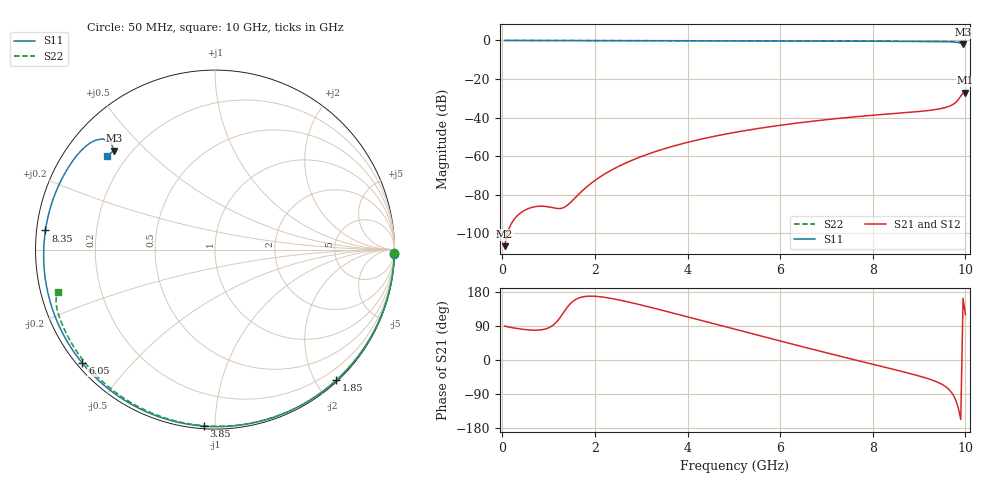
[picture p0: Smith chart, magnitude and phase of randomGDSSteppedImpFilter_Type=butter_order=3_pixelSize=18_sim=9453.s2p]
! freq	dB(S11)	phase(S11)	dB(S12)	phase(S12)
!  dB(S21)	phase(S21)	dB(S22)	phase(S22)
!S-par simulation data
#  GHz  S  DB  R 50
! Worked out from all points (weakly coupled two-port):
!   200 points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, 50 MHz to 10 GHz, reference 50 ohm
!   highest |S21| = -27.08 dB at 10 GHz (marker M1); lowest = -106.6 dB at 50 MHz (marker M2)
!   lowest |S11| = -2.1 dB at 9.95 GHz (marker M3), VSWR 8.45, Z = 6.89 + j20.1 ohm
!   |S11| at or under -10 dB: nowhere
!   |S22| runs from -0.8 to 0.0 dB; largest |S21 - S12| = 0
!   S11 on the Smith chart (normalised r, x): 50 MHz: 0, -87; 1.85 GHz: 0.02, -2.29; 3.85 GHz: 0.01, -0.94; 6.05 GHz: 0.02, -0.37; 8.35 GHz: 0.03, +0.06; 10 GHz: 0.13, +0.37
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0.05  -0.00 -1.3  -106.58 89.6  -106.58 89.6  -0.00 -1.0
0.8  -0.03 -20.7  -85.88 79.1  -85.88 79.1  -0.02 -15.1
1.6  -0.05 -41.0  -80.86 160.7  -80.86 160.7  -0.04 -30.0
1.65  -0.05 -42.3  -79.67 163.5  -79.67 163.5  -0.04 -30.9
1.75  -0.06 -44.7  -77.40 166.9  -77.40 166.9  -0.04 -32.8
1.85  -0.06 -47.2  -75.32 168.3  -75.32 168.3  -0.04 -34.6
2.15  -0.07 -54.5  -70.10 166.4  -70.10 166.4  -0.05 -40.0
2.5  -0.08 -62.9  -65.38 159.0  -65.38 159.0  -0.06 -46.3
2.9  -0.09 -72.3  -61.10 148.0  -61.10 148.0  -0.07 -53.4
3.4  -0.11 -83.7  -56.85 132.8  -56.85 132.8  -0.08 -62.0
3.85  -0.12 -93.6  -53.73 118.6  -53.73 118.6  -0.09 -69.6
5.05  -0.18 -119.1  -47.50 80.1  -47.50 80.1  -0.14 -89.2
6.05  -0.24 -139.4  -43.79 48.5  -43.79 48.5  -0.18 -104.7
6.7  -0.28 -152.5  -41.84 28.2  -41.84 28.2  -0.22 -114.5
7.55  -0.36 -169.7  -39.70 2.2  -39.70 2.2  -0.28 -127.0
8.35  -0.44 173.6  -38.08 -21.8  -38.08 -21.8  -0.35 -138.8
9  -0.51 159.2  -36.82 -42.2  -36.82 -42.2  -0.42 -148.5
9.55  -0.62 145.6  -34.85 -68.4  -34.85 -68.4  -0.50 -157.3
9.75  -0.78 139.3  -32.89 -95.1  -32.89 -95.1  -0.58 -161.0
9.85  -1.13 135.4  -30.58 -127.9  -30.58 -127.9  -0.68 -163.0
9.95  -2.07 135.6  -27.25 162.7  -27.25 162.7  -0.85 -164.4
10  -1.98 138.9  -27.08 120.2  -27.08 120.2  -0.83 -164.9
